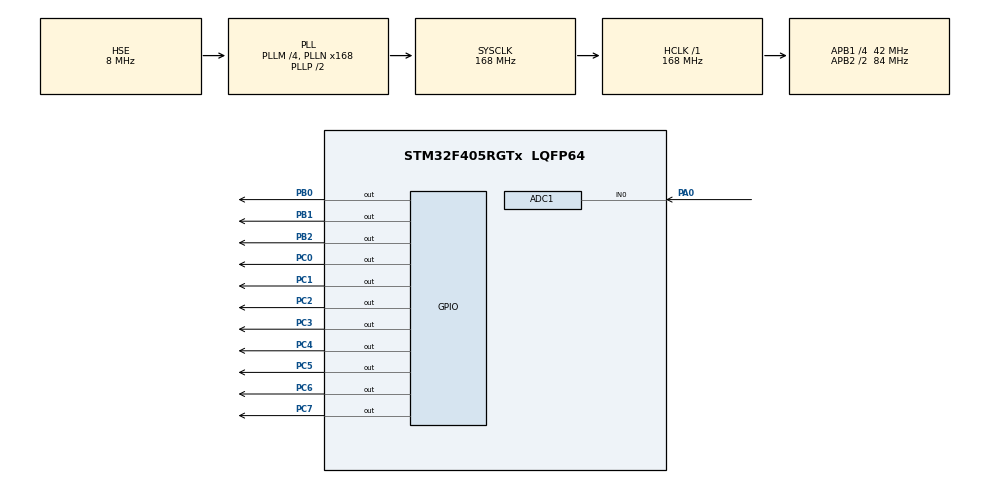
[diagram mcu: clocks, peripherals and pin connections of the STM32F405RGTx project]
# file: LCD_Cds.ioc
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ADC1.Channel-0\#ChannelRegularConversion=ADC_CHANNEL_0
ADC1.NbrOfConversion=1
ADC1.NbrOfConversionFlag=1
ADC1.Rank-0\#ChannelRegularConversion=1
ADC1.SamplingTime-0\#ChannelRegularConversion=ADC_SAMPLETIME_3CYCLES
ADC1.master=1
Mcu.Family=STM32F4
Mcu.Name=STM32F405RGTx
Mcu.Package=LQFP64
NVIC.PriorityGroup=NVIC_PRIORITYGROUP_4
PA0-WKUP.Signal=ADCx_IN0
PA13.Mode=Serial_Wire
PA13.Signal=SYS_JTMS-SWDIO
PA14.Mode=Serial_Wire
PA14.Signal=SYS_JTCK-SWCLK
PB0.Signal=GPIO_Output
PB1.Signal=GPIO_Output
PB2.Signal=GPIO_Output
PC0.Signal=GPIO_Output
PC1.Signal=GPIO_Output
PC2.Signal=GPIO_Output
PC3.Signal=GPIO_Output
PC4.Signal=GPIO_Output
PC5.Signal=GPIO_Output
PC6.Signal=GPIO_Output
PC7.Signal=GPIO_Output
PH0-OSC_IN.Mode=HSE-External-Oscillator
PH0-OSC_IN.Signal=RCC_OSC_IN
PH1-OSC_OUT.Mode=HSE-External-Oscillator
PH1-OSC_OUT.Signal=RCC_OSC_OUT
ProjectManager.HeapSize=0x200
ProjectManager.StackSize=0x400
ProjectManager.TargetToolchain=EWARM V8.32
RCC.48MHZClocksFreq_Value=84000000
RCC.AHBFreq_Value=168000000
RCC.APB1CLKDivider=RCC_HCLK_DIV4
RCC.APB1Freq_Value=42000000
RCC.APB1TimFreq_Value=84000000
RCC.APB2CLKDivider=RCC_HCLK_DIV2
RCC.APB2Freq_Value=84000000
RCC.APB2TimFreq_Value=168000000
RCC.CortexFreq_Value=168000000
RCC.HCLKFreq_Value=168000000
RCC.HSE_VALUE=8000000
RCC.HSI_VALUE=16000000
RCC.LSE_VALUE=32768
RCC.PLLM=4
RCC.PLLN=168
RCC.PLLSourceVirtual=RCC_PLLSOURCE_HSE
RCC.SYSCLKFreq_VALUE=168000000
RCC.SYSCLKSource=RCC_SYSCLKSOURCE_PLLCLK
RCC.VCOOutputFreq_Value=336000000
SH.ADCx_IN0.0=ADC1_IN0,IN0
board=custom

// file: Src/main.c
/* USER CODE BEGIN Header */
/**
******************************************************************************
* @file           : main.c
* @brief          : Main program body
******************************************************************************
* @attention
*
* <h2><center>&copy; Copyright (c) 2020 STMicroelectronics.
* All rights reserved.</center></h2>
*
* This software component is licensed by ST under BSD 3-Clause license,
* the "License"; You may not use this file except in compliance with the
* License. You may obtain a copy of the License at:
*                        opensource.org/licenses/BSD-3-Clause
*
******************************************************************************
*/
/* USER CODE END Header */

#include "main.h"
#include "adc.h"
#include "gpio.h"

/* USER CODE BEGIN Includes */
#include "lcd.h"
#include "stdio.h"
/* USER CODE END Includes */

/* USER CODE BEGIN PV */
uint16_t adcData=0;
char str[10];
uint16_t a=0;
uint16_t b=0;
/* USER CODE END PV */

void SystemClock_Config(void);
/* USER CODE BEGIN PFP */
void Cds()
{
  lcdClear();
  lcdGotoXY(0,0);
  lcdPrintData("ADC POLLTEST",12);
  HAL_ADC_Start(&hadc1);
  HAL_ADC_PollForConversion(&hadc1,10);
  adcData=HAL_ADC_GetValue(&hadc1);
  sprintf(str,"ADC : %d",adcData);
  lcdGotoXY(0,1);
  lcdPrint(str);
  //HAL_Delay(500);

}
/* USER CODE END PFP */

int main(void)
{

  /* MCU Configuration--------------------------------------------------------*/

  /* Reset of all peripherals, Initializes the Flash interface and the Systick. */
  HAL_Init();

  /* Configure the system clock */
  SystemClock_Config();

  /* Initialize all configured peripherals */
  MX_GPIO_Init();
  MX_ADC1_Init();
  /* USER CODE BEGIN 2 */
  lcdInit(); //LCD 초기화

  /* USER CODE END 2 */

  /* Infinite loop */
  /* USER CODE BEGIN WHILE */

  while (1)
  {
      Cds();
      if(adcData<1000)
      {
        if(a==0)
        {
          HAL_GPIO_WritePin(GPIOC,GPIO_PIN_0,GPIO_PIN_SET);
          a=1;
          b=0;
        }
      }
      else if(adcData>1000)
      {
        if(b==0)
        {
          HAL_GPIO_WritePin(GPIOC,GPIO_PIN_0,GPIO_PIN_RESET);
          a=0;
          b=1;
        }
      }

    /* USER CODE END WHILE */

  }
}

void SystemClock_Config(void)
{
  RCC_OscInitTypeDef RCC_OscInitStruct = {0};
  RCC_ClkInitTypeDef RCC_ClkInitStruct = {0};

  /** Configure the main internal regulator output voltage
  */
  __HAL_RCC_PWR_CLK_ENABLE();
  __HAL_PWR_VOLTAGESCALING_CONFIG(PWR_REGULATOR_VOLTAGE_SCALE1);
  /** Initializes the CPU, AHB and APB busses clocks
  */
  RCC_OscInitStruct.OscillatorType = RCC_OSCILLATORTYPE_HSE;
  RCC_OscInitStruct.HSEState = RCC_HSE_ON;
  RCC_OscInitStruct.PLL.PLLState = RCC_PLL_ON;
  RCC_OscInitStruct.PLL.PLLSource = RCC_PLLSOURCE_HSE;
  RCC_OscInitStruct.PLL.PLLM = 4;
  RCC_OscInitStruct.PLL.PLLN = 168;
  RCC_OscInitStruct.PLL.PLLP = RCC_PLLP_DIV2;
  RCC_OscInitStruct.PLL.PLLQ = 4;
  if (HAL_RCC_OscConfig(&RCC_OscInitStruct) != HAL_OK)
  {
    Error_Handler();
  }
  /** Initializes the CPU, AHB and APB busses clocks
  */
  RCC_ClkInitStruct.ClockType = RCC_CLOCKTYPE_HCLK|RCC_CLOCKTYPE_SYSCLK
    |RCC_CLOCKTYPE_PCLK1|RCC_CLOCKTYPE_PCLK2;
  RCC_ClkInitStruct.SYSCLKSource = RCC_SYSCLKSOURCE_PLLCLK;
  RCC_ClkInitStruct.AHBCLKDivider = RCC_SYSCLK_DIV1;
  RCC_ClkInitStruct.APB1CLKDivider = RCC_HCLK_DIV4;
  RCC_ClkInitStruct.APB2CLKDivider = RCC_HCLK_DIV2;

  if (HAL_RCC_ClockConfig(&RCC_ClkInitStruct, FLASH_LATENCY_5) != HAL_OK)
  {
    Error_Handler();
  }
}

void Error_Handler(void)
{
}

/************************ (C) COPYRIGHT STMicroelectronics *****END OF FILE****/
